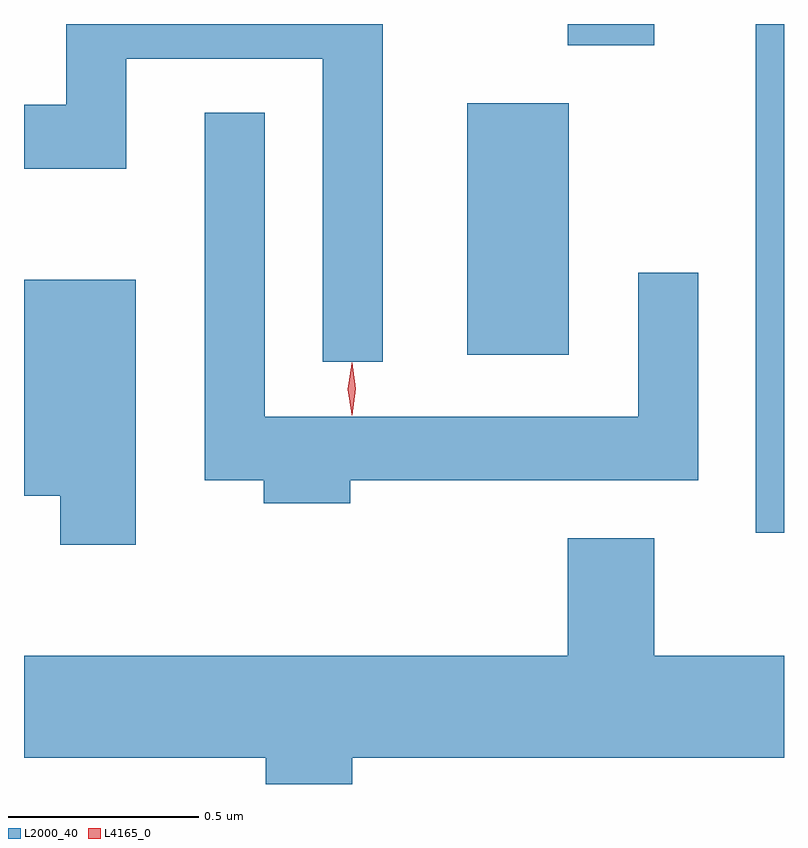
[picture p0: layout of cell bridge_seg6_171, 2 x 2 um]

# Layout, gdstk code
import gdstk
lib = gdstk.Library(unit=1e-6, precision=1e-09)
def R(c, l, rs):  # rectangles x0, y0, x1, y1
    for r in rs: c.add(gdstk.rectangle(r[:2], r[2:], *l))
def P(c, l, *ps):  # polygons
    for p in ps: c.add(gdstk.Polygon(p, *l))
L2000_40 = (2000, 40)
L4165_0 = (4165, 0)

bridge_seg6_171 = lib.new_cell('bridge_seg6_171')
R(bridge_seg6_171, L2000_40, [(1051.846,1575.048,1051.92,1576.387), (1051.086,1575.516,1051.354,1576.179), (1051.351,1576.331,1051.579,1576.387)])
P(bridge_seg6_171, L2000_40, [(1050.864,1576.387),(1050.031,1576.387),(1050.031,1576.174),(1049.92,1576.174),(1049.92,1576.006),(1050.189,1576.006),(1050.189,1576.296),(1050.706,1576.296),(1050.706,1575.498),(1050.864,1575.498)],
  [(1050.779,1575.186),(1051.694,1575.186),(1051.694,1575.733),(1051.536,1575.733),(1051.536,1575.354),(1050.554,1575.354),(1050.554,1576.153),(1050.396,1576.153),(1050.396,1575.186),(1050.551,1575.186),(1050.551,1575.126),(1050.779,1575.126)],
  [(1050.214,1575.714),(1049.92,1575.714),(1049.92,1575.146),(1050.016,1575.146),(1050.016,1575.016),(1050.214,1575.016)],
  [(1050.784,1574.456),(1051.92,1574.456),(1051.92,1574.724),(1051.579,1574.724),(1051.579,1575.034),(1051.351,1575.034),(1051.351,1574.724),(1049.92,1574.724),(1049.92,1574.456),(1050.556,1574.456),(1050.556,1574.387),(1050.784,1574.387)])
P(bridge_seg6_171, L4165_0, [(1050.782,1575.359),(1050.782,1575.36),(1050.772,1575.426),(1050.782,1575.493),(1050.782,1575.493),(1050.783,1575.493),(1050.792,1575.426),(1050.783,1575.36)],
  [(1050.784,1575.357),(1050.783,1575.358),(1050.774,1575.427),(1050.783,1575.496),(1050.784,1575.496),(1050.784,1575.496),(1050.793,1575.427),(1050.784,1575.358)])

lib.write_gds('bridge_seg6_171.gds')
